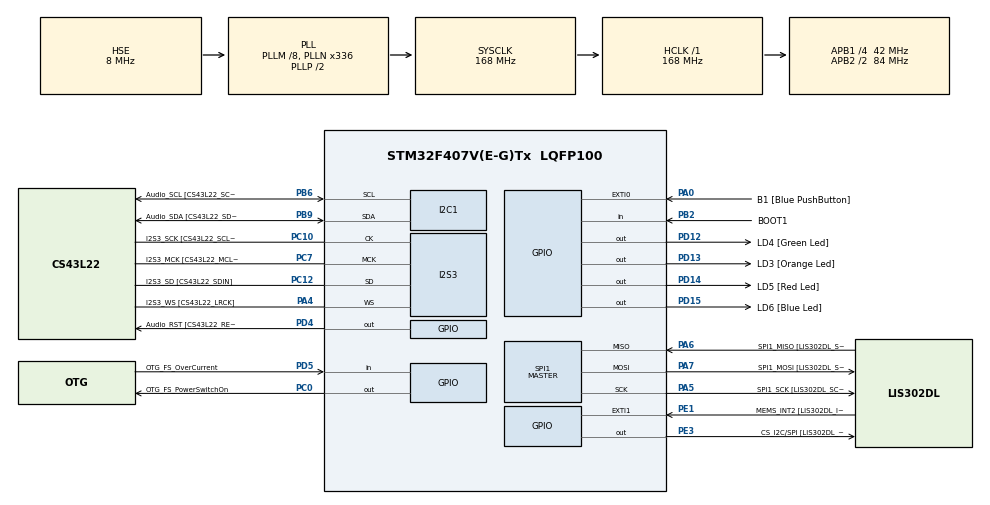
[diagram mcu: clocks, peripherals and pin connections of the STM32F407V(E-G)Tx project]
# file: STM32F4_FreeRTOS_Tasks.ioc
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FREERTOS.Tasks01=defaultTask,24,254,StartDefaultTask,Default,NULL,Dynamic,NULL,NULL;myGreenTask,24,254,GreenTask,Default,NULL,Dynamic,NULL,NULL;myBlueTask,24,254,BlueTask,Default,NULL,Dynamic,NULL,NULL
FREERTOS.configGENERATE_RUN_TIME_STATS=1
FREERTOS.configMINIMAL_STACK_SIZE=254
FREERTOS.configRECORD_STACK_HIGH_ADDRESS=1
FREERTOS.configUSE_STATS_FORMATTING_FUNCTIONS=0
FREERTOS.configUSE_TRACE_FACILITY=1
I2S3.AudioFreq-Half_Duplex_Master=I2S_AUDIOFREQ_96K
I2S3.ErrorAudioFreq=-2.34 %
I2S3.ErrorAudioFreq-Half_Duplex_Master=0.8 %
I2S3.FullDuplexMode=I2S_FULLDUPLEXMODE_DISABLE
I2S3.Instance=SPI$Index
I2S3.RealAudioFreq=93.75 KHz
I2S3.RealAudioFreq-Half_Duplex_Master=96.774 KHz
I2S3.VirtualMode=I2S_MODE_MASTER
Mcu.Family=STM32F4
Mcu.Name=STM32F407V(E-G)Tx
Mcu.Package=LQFP100
NVIC.PriorityGroup=NVIC_PRIORITYGROUP_4
NVIC.TIM6_DAC_IRQn=true\:15\:0\:false\:false\:true\:false\:false\:true\:true
NVIC.TimeBase=TIM6_DAC_IRQn
NVIC.TimeBaseIP=TIM6
PA0-WKUP.GPIO_Label=B1 [Blue PushButton]
PA0-WKUP.GPIO_ModeDefaultEXTI=GPIO_MODE_EVT_RISING
PA0-WKUP.GPIO_PuPd=GPIO_NOPULL
PA0-WKUP.Signal=GPXTI0
PA10.GPIO_Label=OTG_FS_ID
PA10.GPIO_Mode=GPIO_MODE_AF_PP
PA10.GPIO_PuPd=GPIO_NOPULL
PA10.GPIO_Speed=GPIO_SPEED_FREQ_LOW
PA10.Signal=USB_OTG_FS_ID
PA11.GPIO_Label=OTG_FS_DM
PA11.GPIO_Mode=GPIO_MODE_AF_PP
PA11.GPIO_PuPd=GPIO_NOPULL
PA11.GPIO_Speed=GPIO_SPEED_FREQ_LOW
PA11.Signal=USB_OTG_FS_DM
PA12.GPIO_Label=OTG_FS_DP
PA12.GPIO_Mode=GPIO_MODE_AF_PP
PA12.GPIO_PuPd=GPIO_NOPULL
PA12.GPIO_Speed=GPIO_SPEED_FREQ_LOW
PA12.Signal=USB_OTG_FS_DP
PA13.GPIO_Label=SWDIO
PA13.Mode=Serial_Wire
PA13.Signal=SYS_JTMS-SWDIO
PA14.GPIO_Label=SWCLK
PA14.Mode=Serial_Wire
PA14.Signal=SYS_JTCK-SWCLK
PA4.GPIO_Label=I2S3_WS [CS43L22_LRCK]
PA4.GPIO_Mode=GPIO_MODE_AF_PP
PA4.GPIO_PuPd=GPIO_NOPULL
PA4.GPIO_Speed=GPIO_SPEED_FREQ_LOW
PA4.Mode=Half_Duplex_Master
PA4.Signal=I2S3_WS
PA5.GPIO_Label=SPI1_SCK [LIS302DL_SCL/SPC]
PA5.GPIO_Mode=GPIO_MODE_AF_PP
PA5.GPIO_PuPd=GPIO_NOPULL
PA5.GPIO_Speed=GPIO_SPEED_FREQ_LOW
PA5.Mode=Full_Duplex_Master
PA5.Signal=SPI1_SCK
PA6.GPIO_Label=SPI1_MISO [LIS302DL_SDO]
PA6.GPIO_Mode=GPIO_MODE_AF_PP
PA6.GPIO_PuPd=GPIO_NOPULL
PA6.GPIO_Speed=GPIO_SPEED_FREQ_LOW
PA6.Mode=Full_Duplex_Master
PA6.Signal=SPI1_MISO
PA7.GPIO_Label=SPI1_MOSI [LIS302DL_SDA/SDI/SDO]
PA7.GPIO_Mode=GPIO_MODE_AF_PP
PA7.GPIO_PuPd=GPIO_NOPULL
PA7.GPIO_Speed=GPIO_SPEED_FREQ_LOW
PA7.Mode=Full_Duplex_Master
PA7.Signal=SPI1_MOSI
PA9.GPIO_Label=VBUS_FS
PA9.GPIO_Mode=GPIO_MODE_INPUT
PA9.GPIO_PuPd=GPIO_NOPULL
PA9.Signal=USB_OTG_FS_VBUS
PB10.GPIO_Label=CLK_IN [MP45DT02_CLK]
PB10.GPIO_Mode=GPIO_MODE_AF_PP
PB10.GPIO_PuPd=GPIO_NOPULL
PB10.GPIO_Speed=GPIO_SPEED_FREQ_LOW
PB10.Signal=I2S2_CK
PB2.GPIO_Label=BOOT1
PB2.GPIO_Mode=GPIO_MODE_INPUT
PB2.GPIO_PuPd=GPIO_NOPULL
PB2.Signal=GPIO_Input
PB3.GPIO_Label=SWO
PB3.Signal=SYS_JTDO-SWO
PB6.GPIO_Label=Audio_SCL [CS43L22_SCL]
PB6.GPIO_Mode=GPIO_MODE_AF_OD
PB6.GPIO_Pu=GPIO_PULLUP
PB6.GPIO_PuPd=GPIO_NOPULL
PB6.GPIO_Speed=GPIO_SPEED_FREQ_LOW
PB6.Mode=I2C
PB6.Signal=I2C1_SCL
PB9.GPIO_Label=Audio_SDA [CS43L22_SDA]
PB9.GPIO_Mode=GPIO_MODE_AF_OD
PB9.GPIO_Pu=GPIO_PULLUP
PB9.GPIO_PuPd=GPIO_NOPULL
PB9.GPIO_Speed=GPIO_SPEED_FREQ_LOW
PB9.Mode=I2C
PB9.Signal=I2C1_SDA
PC0.GPIO_Label=OTG_FS_PowerSwitchOn
PC0.GPIO_PuPd=GPIO_NOPULL
PC0.GPIO_Speed=GPIO_SPEED_FREQ_LOW
PC0.PinState=GPIO_PIN_SET
PC0.Signal=GPIO_Output
PC10.GPIO_Label=I2S3_SCK [CS43L22_SCLK]
PC10.GPIO_Mode=GPIO_MODE_AF_PP
PC10.GPIO_PuPd=GPIO_NOPULL
PC10.GPIO_Speed=GPIO_SPEED_FREQ_LOW
PC10.Mode=Half_Duplex_Master
PC10.Signal=I2S3_CK
PC12.GPIO_Label=I2S3_SD [CS43L22_SDIN]
PC12.GPIO_Mode=GPIO_MODE_AF_PP
PC12.GPIO_PuPd=GPIO_NOPULL
PC12.GPIO_Speed=GPIO_SPEED_FREQ_LOW
PC12.Mode=Half_Duplex_Master
PC12.Signal=I2S3_SD
PC14-OSC32_IN.GPIO_Label=PC14-OSC32_IN
PC14-OSC32_IN.Mode=LSE-External-Oscillator
PC14-OSC32_IN.Signal=RCC_OSC32_IN
PC15-OSC32_OUT.GPIO_Label=PC15-OSC32_OUT
PC15-OSC32_OUT.Mode=LSE-External-Oscillator
PC15-OSC32_OUT.Signal=RCC_OSC32_OUT
PC3.GPIO_Label=PDM_OUT [MP45DT02_DOUT]
PC3.GPIO_Mode=GPIO_MODE_AF_PP
PC3.GPIO_PuPd=GPIO_NOPULL
PC3.GPIO_Speed=GPIO_SPEED_FREQ_LOW
PC3.Signal=I2S2_SD
PC7.GPIO_Label=I2S3_MCK [CS43L22_MCLK]
PC7.GPIO_Mode=GPIO_MODE_AF_PP
PC7.GPIO_PuPd=GPIO_NOPULL
PC7.GPIO_Speed=GPIO_SPEED_FREQ_LOW
PC7.Mode=Master_Clock_Activated
PC7.Signal=I2S3_MCK
PD12.GPIO_Label=LD4 [Green Led]
PD12.GPIO_PuPd=GPIO_NOPULL
PD12.GPIO_Speed=GPIO_SPEED_FREQ_LOW
PD12.Signal=GPIO_Output
PD13.GPIO_Label=LD3 [Orange Led]
PD13.GPIO_PuPd=GPIO_NOPULL
PD13.GPIO_Speed=GPIO_SPEED_FREQ_LOW
PD13.Signal=GPIO_Output
PD14.GPIO_Label=LD5 [Red Led]
PD14.GPIO_PuPd=GPIO_NOPULL
PD14.GPIO_Speed=GPIO_SPEED_FREQ_LOW
PD14.Signal=GPIO_Output
PD15.GPIO_Label=LD6 [Blue Led]
PD15.GPIO_PuPd=GPIO_NOPULL
PD15.GPIO_Speed=GPIO_SPEED_FREQ_LOW
PD15.Signal=GPIO_Output
PD4.GPIO_Label=Audio_RST [CS43L22_RESET]
PD4.GPIO_PuPd=GPIO_NOPULL
PD4.GPIO_Speed=GPIO_SPEED_FREQ_LOW
PD4.Signal=GPIO_Output
PD5.GPIO_Label=OTG_FS_OverCurrent
PD5.GPIO_Mode=GPIO_MODE_INPUT
PD5.GPIO_PuPd=GPIO_NOPULL
PD5.Signal=GPIO_Input
PE1.GPIO_Label=MEMS_INT2 [LIS302DL_INT2]
PE1.GPIO_ModeDefaultEXTI=GPIO_MODE_EVT_RISING
PE1.GPIO_PuPd=GPIO_NOPULL
PE1.Signal=GPXTI1
PE3.GPIO_Label=CS_I2C/SPI [LIS302DL_CS_I2C/SPI]
PE3.GPIO_PuPd=GPIO_NOPULL
PE3.GPIO_Speed=GPIO_SPEED_FREQ_LOW
PE3.Signal=GPIO_Output
PH0-OSC_IN.GPIO_Label=PH0-OSC_IN
PH0-OSC_IN.Mode=HSE-External-Oscillator
PH0-OSC_IN.Signal=RCC_OSC_IN
PH1-OSC_OUT.GPIO_Label=PH1-OSC_OUT
PH1-OSC_OUT.Mode=HSE-External-Oscillator
PH1-OSC_OUT.Signal=RCC_OSC_OUT
ProjectManager.HeapSize=0x200
ProjectManager.StackSize=0x400
ProjectManager.TargetToolchain=STM32CubeIDE
RCC.48MHZClocksFreq_Value=48000000
RCC.AHBFreq_Value=168000000
RCC.APB1CLKDivider=RCC_HCLK_DIV4
RCC.APB1Freq_Value=42000000
RCC.APB1TimFreq_Value=84000000
RCC.APB2CLKDivider=RCC_HCLK_DIV2
RCC.APB2Freq_Value=84000000
RCC.APB2TimFreq_Value=168000000
RCC.CortexFreq_Value=168000000
RCC.HCLKFreq_Value=168000000
RCC.HSE_VALUE=8000000
RCC.HSI_VALUE=16000000
RCC.PLLM=8
RCC.PLLN=336
RCC.PLLQ=7
RCC.PLLSourceVirtual=RCC_PLLSOURCE_HSE
RCC.SYSCLKFreq_VALUE=168000000
RCC.SYSCLKSource=RCC_SYSCLKSOURCE_PLLCLK
RCC.VCOOutputFreq_Value=336000000
SPI1.BaudRatePrescaler-Full_Duplex_Master=SPI_BAUDRATEPRESCALER_2
SPI1.CalculateBaudRate-Full_Duplex_Master=42.0 MBits/s
SPI1.Direction=SPI_DIRECTION_2LINES
SPI1.Mode=SPI_MODE_MASTER
SPI1.Mode-Full_Duplex_Master=SPI_MODE_MASTER
SPI1.VirtualType=VM_MASTER
VP_FREERTOS_VS_CMSIS_V2.Mode=CMSIS_V2
VP_SYS_VS_tim6.Mode=TIM6
board=STM32F407G-DISC1

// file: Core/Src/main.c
/* USER CODE BEGIN Header */
/**
  ******************************************************************************
  * @file           : main.c
  * @brief          : Main program body
  ******************************************************************************
  * @attention
  *
  * Copyright (c) 2023 STMicroelectronics.
  * All rights reserved.
  *
  * This software is licensed under terms that can be found in the LICENSE file
  * in the root directory of this software component.
  * If no LICENSE file comes with this software, it is provided AS-IS.
  *
  ******************************************************************************
  */
/* USER CODE END Header */
#include "main.h"
#include "cmsis_os.h"

/* USER CODE BEGIN Includes */
#include "stdio.h"		//printf

/* USER CODE END Includes */

I2C_HandleTypeDef hi2c1;

I2S_HandleTypeDef hi2s3;

SPI_HandleTypeDef hspi1;

/* Definitions for defaultTask */
osThreadId_t defaultTaskHandle;
const osThreadAttr_t defaultTask_attributes = {
  .name = "defaultTask",
  .stack_size = 254 * 4,
  .priority = (osPriority_t) osPriorityNormal,
};
/* Definitions for myGreenTask */
osThreadId_t myGreenTaskHandle;
const osThreadAttr_t myGreenTask_attributes = {
  .name = "myGreenTask",
  .stack_size = 254 * 4,
  .priority = (osPriority_t) osPriorityNormal,
};
/* Definitions for myBlueTask */
osThreadId_t myBlueTaskHandle;
const osThreadAttr_t myBlueTask_attributes = {
  .name = "myBlueTask",
  .stack_size = 254 * 4,
  .priority = (osPriority_t) osPriorityNormal,
};

void SystemClock_Config(void);
static void MX_GPIO_Init(void);
static void MX_I2C1_Init(void);
static void MX_I2S3_Init(void);
static void MX_SPI1_Init(void);
void StartDefaultTask(void *argument);
void GreenTask(void *argument);
void BlueTask(void *argument);

/* USER CODE BEGIN 0 */

//write() function implementation for the printf()
int _write(int file, char *ptr, int len)
{
  	/* Implement your write code here, this is used by puts and printf for example */
	for(int i=0 ; i<len ; i++)
		ITM_SendChar((*ptr++));
	return len;
}

/* USER CODE END 0 */

int main(void)
{

  /* MCU Configuration--------------------------------------------------------*/

  /* Reset of all peripherals, Initializes the Flash interface and the Systick. */
  HAL_Init();

  /* Configure the system clock */
  SystemClock_Config();

  /* Initialize all configured peripherals */
  MX_GPIO_Init();
  MX_I2C1_Init();
  MX_I2S3_Init();
  MX_SPI1_Init();
  /* USER CODE BEGIN 2 */

  HAL_GPIO_WritePin(LD4_GPIO_Port, LD4_Pin, GPIO_PIN_SET);
  printf("Hello world!\n");

  /* USER CODE END 2 */

  /* Init scheduler */
  osKernelInitialize();

  /* Create the thread(s) */
  /* creation of defaultTask */
  defaultTaskHandle = osThreadNew(StartDefaultTask, NULL, &defaultTask_attributes);

  /* creation of myGreenTask */
  myGreenTaskHandle = osThreadNew(GreenTask, NULL, &myGreenTask_attributes);

  /* creation of myBlueTask */
  myBlueTaskHandle = osThreadNew(BlueTask, NULL, &myBlueTask_attributes);

  /* Start scheduler */
  osKernelStart();
  /* We should never get here as control is now taken by the scheduler */
  /* Infinite loop */
  while (1)
  {

  }
}

void SystemClock_Config(void)
{
  RCC_OscInitTypeDef RCC_OscInitStruct = {0};
  RCC_ClkInitTypeDef RCC_ClkInitStruct = {0};

  /** Configure the main internal regulator output voltage
  */
  __HAL_RCC_PWR_CLK_ENABLE();
  __HAL_PWR_VOLTAGESCALING_CONFIG(PWR_REGULATOR_VOLTAGE_SCALE1);

  /** Initializes the RCC Oscillators according to the specified parameters
  * in the RCC_OscInitTypeDef structure.
  */
  RCC_OscInitStruct.OscillatorType = RCC_OSCILLATORTYPE_HSE;
  RCC_OscInitStruct.HSEState = RCC_HSE_ON;
  RCC_OscInitStruct.PLL.PLLState = RCC_PLL_ON;
  RCC_OscInitStruct.PLL.PLLSource = RCC_PLLSOURCE_HSE;
  RCC_OscInitStruct.PLL.PLLM = 8;
  RCC_OscInitStruct.PLL.PLLN = 336;
  RCC_OscInitStruct.PLL.PLLP = RCC_PLLP_DIV2;
  RCC_OscInitStruct.PLL.PLLQ = 7;
  if (HAL_RCC_OscConfig(&RCC_OscInitStruct) != HAL_OK)
  {
    Error_Handler();
  }

  /** Initializes the CPU, AHB and APB buses clocks
  */
  RCC_ClkInitStruct.ClockType = RCC_CLOCKTYPE_HCLK|RCC_CLOCKTYPE_SYSCLK
                              |RCC_CLOCKTYPE_PCLK1|RCC_CLOCKTYPE_PCLK2;
  RCC_ClkInitStruct.SYSCLKSource = RCC_SYSCLKSOURCE_PLLCLK;
  RCC_ClkInitStruct.AHBCLKDivider = RCC_SYSCLK_DIV1;
  RCC_ClkInitStruct.APB1CLKDivider = RCC_HCLK_DIV4;
  RCC_ClkInitStruct.APB2CLKDivider = RCC_HCLK_DIV2;

  if (HAL_RCC_ClockConfig(&RCC_ClkInitStruct, FLASH_LATENCY_5) != HAL_OK)
  {
    Error_Handler();
  }
}

static void MX_I2C1_Init(void)
{

  hi2c1.Instance = I2C1;
  hi2c1.Init.ClockSpeed = 100000;
  hi2c1.Init.DutyCycle = I2C_DUTYCYCLE_2;
  hi2c1.Init.OwnAddress1 = 0;
  hi2c1.Init.AddressingMode = I2C_ADDRESSINGMODE_7BIT;
  hi2c1.Init.DualAddressMode = I2C_DUALADDRESS_DISABLE;
  hi2c1.Init.OwnAddress2 = 0;
  hi2c1.Init.GeneralCallMode = I2C_GENERALCALL_DISABLE;
  hi2c1.Init.NoStretchMode = I2C_NOSTRETCH_DISABLE;
  if (HAL_I2C_Init(&hi2c1) != HAL_OK)
  {
    Error_Handler();
  }

}

static void MX_I2S3_Init(void)
{

  hi2s3.Instance = SPI3;
  hi2s3.Init.Mode = I2S_MODE_MASTER_TX;
  hi2s3.Init.Standard = I2S_STANDARD_PHILIPS;
  hi2s3.Init.DataFormat = I2S_DATAFORMAT_16B;
  hi2s3.Init.MCLKOutput = I2S_MCLKOUTPUT_ENABLE;
  hi2s3.Init.AudioFreq = I2S_AUDIOFREQ_96K;
  hi2s3.Init.CPOL = I2S_CPOL_LOW;
  hi2s3.Init.ClockSource = I2S_CLOCK_PLL;
  hi2s3.Init.FullDuplexMode = I2S_FULLDUPLEXMODE_DISABLE;
  if (HAL_I2S_Init(&hi2s3) != HAL_OK)
  {
    Error_Handler();
  }

}

static void MX_SPI1_Init(void)
{

  /* SPI1 parameter configuration*/
  hspi1.Instance = SPI1;
  hspi1.Init.Mode = SPI_MODE_MASTER;
  hspi1.Init.Direction = SPI_DIRECTION_2LINES;
  hspi1.Init.DataSize = SPI_DATASIZE_8BIT;
  hspi1.Init.CLKPolarity = SPI_POLARITY_LOW;
  hspi1.Init.CLKPhase = SPI_PHASE_1EDGE;
  hspi1.Init.NSS = SPI_NSS_SOFT;
  hspi1.Init.BaudRatePrescaler = SPI_BAUDRATEPRESCALER_2;
  hspi1.Init.FirstBit = SPI_FIRSTBIT_MSB;
  hspi1.Init.TIMode = SPI_TIMODE_DISABLE;
  hspi1.Init.CRCCalculation = SPI_CRCCALCULATION_DISABLE;
  hspi1.Init.CRCPolynomial = 10;
  if (HAL_SPI_Init(&hspi1) != HAL_OK)
  {
    Error_Handler();
  }

}

static void MX_GPIO_Init(void)
{
  GPIO_InitTypeDef GPIO_InitStruct = {0};

  /* GPIO Ports Clock Enable */
  __HAL_RCC_GPIOE_CLK_ENABLE();
  __HAL_RCC_GPIOC_CLK_ENABLE();
  __HAL_RCC_GPIOH_CLK_ENABLE();
  __HAL_RCC_GPIOA_CLK_ENABLE();
  __HAL_RCC_GPIOB_CLK_ENABLE();
  __HAL_RCC_GPIOD_CLK_ENABLE();

  /*Configure GPIO pin Output Level */
  HAL_GPIO_WritePin(CS_I2C_SPI_GPIO_Port, CS_I2C_SPI_Pin, GPIO_PIN_RESET);

  /*Configure GPIO pin Output Level */
  HAL_GPIO_WritePin(OTG_FS_PowerSwitchOn_GPIO_Port, OTG_FS_PowerSwitchOn_Pin, GPIO_PIN_SET);

  /*Configure GPIO pin Output Level */
  HAL_GPIO_WritePin(GPIOD, LD4_Pin|LD3_Pin|LD5_Pin|LD6_Pin
                          |Audio_RST_Pin, GPIO_PIN_RESET);

  /*Configure GPIO pin : CS_I2C_SPI_Pin */
  GPIO_InitStruct.Pin = CS_I2C_SPI_Pin;
  GPIO_InitStruct.Mode = GPIO_MODE_OUTPUT_PP;
  GPIO_InitStruct.Pull = GPIO_NOPULL;
  GPIO_InitStruct.Speed = GPIO_SPEED_FREQ_LOW;
  HAL_GPIO_Init(CS_I2C_SPI_GPIO_Port, &GPIO_InitStruct);

  /*Configure GPIO pin : OTG_FS_PowerSwitchOn_Pin */
  GPIO_InitStruct.Pin = OTG_FS_PowerSwitchOn_Pin;
  GPIO_InitStruct.Mode = GPIO_MODE_OUTPUT_PP;
  GPIO_InitStruct.Pull = GPIO_NOPULL;
  GPIO_InitStruct.Speed = GPIO_SPEED_FREQ_LOW;
  HAL_GPIO_Init(OTG_FS_PowerSwitchOn_GPIO_Port, &GPIO_InitStruct);

  /*Configure GPIO pin : PDM_OUT_Pin */
  GPIO_InitStruct.Pin = PDM_OUT_Pin;
  GPIO_InitStruct.Mode = GPIO_MODE_AF_PP;
  GPIO_InitStruct.Pull = GPIO_NOPULL;
  GPIO_InitStruct.Speed = GPIO_SPEED_FREQ_LOW;
  GPIO_InitStruct.Alternate = GPIO_AF5_SPI2;
  HAL_GPIO_Init(PDM_OUT_GPIO_Port, &GPIO_InitStruct);

  /*Configure GPIO pin : B1_Pin */
  GPIO_InitStruct.Pin = B1_Pin;
  GPIO_InitStruct.Mode = GPIO_MODE_EVT_RISING;
  GPIO_InitStruct.Pull = GPIO_NOPULL;
  HAL_GPIO_Init(B1_GPIO_Port, &GPIO_InitStruct);

  /*Configure GPIO pin : BOOT1_Pin */
  GPIO_InitStruct.Pin = BOOT1_Pin;
  GPIO_InitStruct.Mode = GPIO_MODE_INPUT;
  GPIO_InitStruct.Pull = GPIO_NOPULL;
  HAL_GPIO_Init(BOOT1_GPIO_Port, &GPIO_InitStruct);

  /*Configure GPIO pin : CLK_IN_Pin */
  GPIO_InitStruct.Pin = CLK_IN_Pin;
  GPIO_InitStruct.Mode = GPIO_MODE_AF_PP;
  GPIO_InitStruct.Pull = GPIO_NOPULL;
  GPIO_InitStruct.Speed = GPIO_SPEED_FREQ_LOW;
  GPIO_InitStruct.Alternate = GPIO_AF5_SPI2;
  HAL_GPIO_Init(CLK_IN_GPIO_Port, &GPIO_InitStruct);

  /*Configure GPIO pins : LD4_Pin LD3_Pin LD5_Pin LD6_Pin
                           Audio_RST_Pin */
  GPIO_InitStruct.Pin = LD4_Pin|LD3_Pin|LD5_Pin|LD6_Pin
                          |Audio_RST_Pin;
  GPIO_InitStruct.Mode = GPIO_MODE_OUTPUT_PP;
  GPIO_InitStruct.Pull = GPIO_NOPULL;
  GPIO_InitStruct.Speed = GPIO_SPEED_FREQ_LOW;
  HAL_GPIO_Init(GPIOD, &GPIO_InitStruct);

  /*Configure GPIO pin : VBUS_FS_Pin */
  GPIO_InitStruct.Pin = VBUS_FS_Pin;
  GPIO_InitStruct.Mode = GPIO_MODE_INPUT;
  GPIO_InitStruct.Pull = GPIO_NOPULL;
  HAL_GPIO_Init(VBUS_FS_GPIO_Port, &GPIO_InitStruct);

  /*Configure GPIO pins : OTG_FS_ID_Pin OTG_FS_DM_Pin OTG_FS_DP_Pin */
  GPIO_InitStruct.Pin = OTG_FS_ID_Pin|OTG_FS_DM_Pin|OTG_FS_DP_Pin;
  GPIO_InitStruct.Mode = GPIO_MODE_AF_PP;
  GPIO_InitStruct.Pull = GPIO_NOPULL;
  GPIO_InitStruct.Speed = GPIO_SPEED_FREQ_LOW;
  GPIO_InitStruct.Alternate = GPIO_AF10_OTG_FS;
  HAL_GPIO_Init(GPIOA, &GPIO_InitStruct);

  /*Configure GPIO pin : OTG_FS_OverCurrent_Pin */
  GPIO_InitStruct.Pin = OTG_FS_OverCurrent_Pin;
  GPIO_InitStruct.Mode = GPIO_MODE_INPUT;
  GPIO_InitStruct.Pull = GPIO_NOPULL;
  HAL_GPIO_Init(OTG_FS_OverCurrent_GPIO_Port, &GPIO_InitStruct);

  /*Configure GPIO pin : MEMS_INT2_Pin */
  GPIO_InitStruct.Pin = MEMS_INT2_Pin;
  GPIO_InitStruct.Mode = GPIO_MODE_EVT_RISING;
  GPIO_InitStruct.Pull = GPIO_NOPULL;
  HAL_GPIO_Init(MEMS_INT2_GPIO_Port, &GPIO_InitStruct);

}

void StartDefaultTask(void *argument)
{
  for(;;)
  {
    osDelay(1);
  }
}

void GreenTask(void *argument)
{
  /* USER CODE BEGIN GreenTask */
  /* Infinite loop */
  for(;;)
  {
	  printf("GreenTask running\n");
	  HAL_GPIO_TogglePin(LD4_GPIO_Port, LD4_Pin);
	  osDelay(500);
  }
  /* USER CODE END GreenTask */
}

void BlueTask(void *argument)
{
  /* USER CODE BEGIN BlueTask */
	uint16_t x = 0;
  /* Infinite loop */
  for(;;)
  {
	  x++;
	  printf("BlueTask running, iteration = %d \n", x);
	  HAL_GPIO_TogglePin(LD6_GPIO_Port, LD6_Pin);
	  osDelay(1000);
  }
  /* USER CODE END BlueTask */
}

void HAL_TIM_PeriodElapsedCallback(TIM_HandleTypeDef *htim)
{
  if (htim->Instance == TIM6) {
    HAL_IncTick();
  }
}

void Error_Handler(void)
{
  __disable_irq();
  while (1)
  {
  }
}
